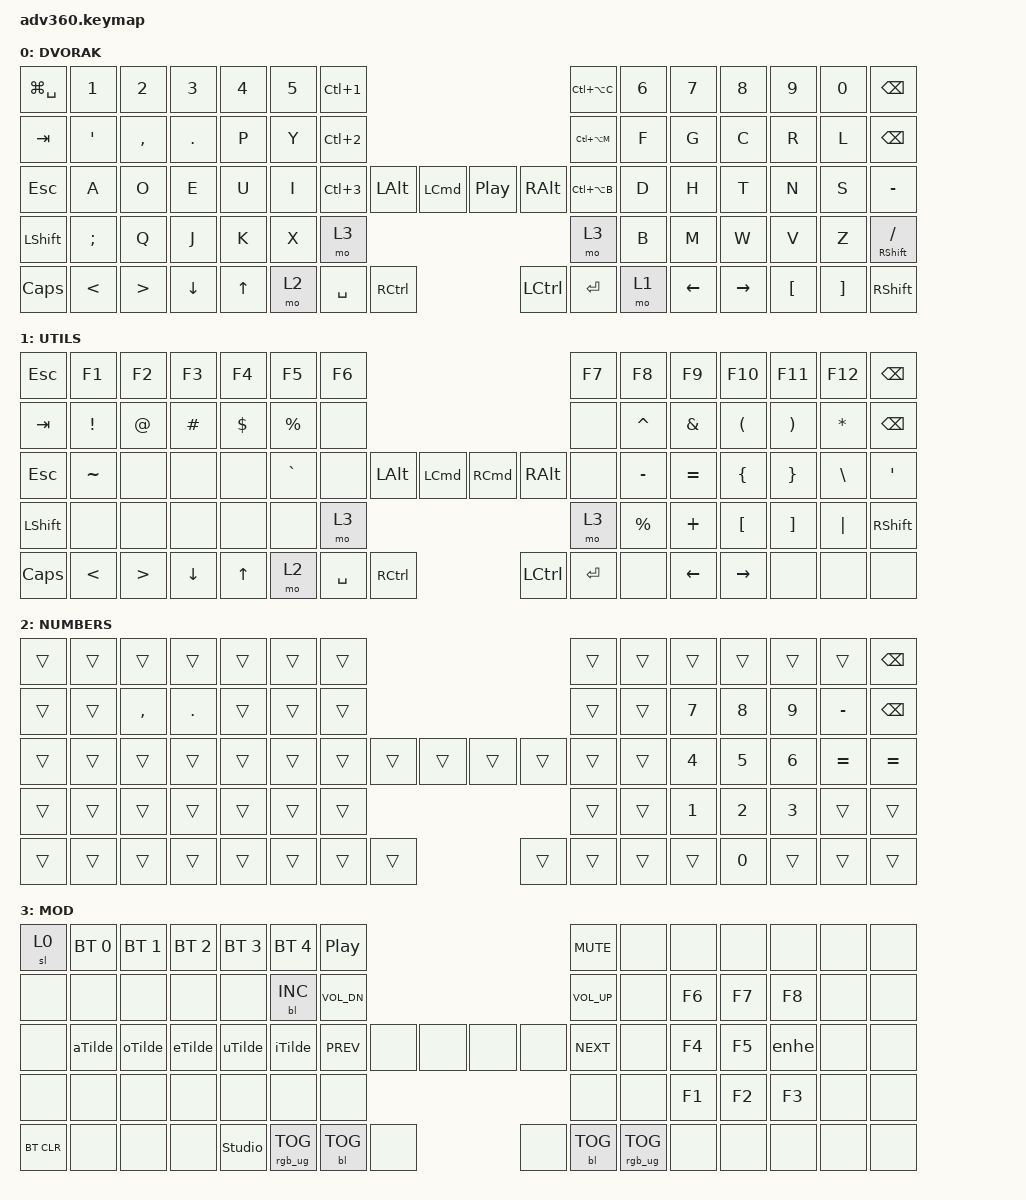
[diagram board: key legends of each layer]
#include <dt-bindings/zmk/stp.h>
#include <behaviors.dtsi>
#include <dt-bindings/zmk/backlight.h>
#include <dt-bindings/zmk/bt.h>
#include <dt-bindings/zmk/keys.h>
#include <dt-bindings/zmk/rgb.h>

/ {
    macros {
        aTilde: aTilde {
            compatible = "zmk,behavior-macro";
            #binding-cells = <0>;
            bindings = <&kp LA(E) &kp A>;
            label = "ATILDE";
        };

        oTilde: oTilde {
            compatible = "zmk,behavior-macro";
            #binding-cells = <0>;
            bindings = <&kp LA(E) &kp O>;
            label = "OTILDE";
        };

        eTilde: eTilde {
            compatible = "zmk,behavior-macro";
            #binding-cells = <0>;
            bindings = <&kp LA(E) &kp E>;
            label = "ETILDE";
        };

        uTilde: uTilde {
            compatible = "zmk,behavior-macro";
            #binding-cells = <0>;
            bindings = <&kp LA(E) &kp U>;
            label = "UTILDE";
        };

        iTilde: iTilde {
            compatible = "zmk,behavior-macro";
            #binding-cells = <0>;
            bindings = <&kp LA(E) &kp I>;
            label = "ITILDE";
        };

        enhe: enhe {
            compatible = "zmk,behavior-macro";
            #binding-cells = <0>;
            bindings = <&kp LA(N) &kp N>;
            label = "ENHE";
        };
    };

    keymap {
        compatible = "zmk,keymap";

        DVORAK {
            bindings = <
&kp LG(SPACE)  &kp N1         &kp N2            &kp N3          &kp N4        &kp N5  &kp LC(NUMBER_1)                                                  &kp LC(LA(C))  &kp N6  &kp N7          &kp N8     &kp N9    &kp N0    &kp BACKSPACE
&kp TAB        &kp SQT        &kp COMMA         &kp PERIOD      &kp P         &kp Y   &kp LC(NUMBER_2)                                                  &kp LC(LA(M))  &kp F   &kp G           &kp C      &kp R     &kp L     &kp BACKSPACE
&kp ESC        &kp A          &kp O             &kp E           &kp U         &kp I   &kp LC(NUMBER_3)  &kp LALT   &kp LCMD       &kp C_PP   &kp RALT   &kp LC(LA(B))  &kp D   &kp H           &kp T      &kp N     &kp S     &kp MINUS
&kp LSHFT      &kp SEMICOLON  &kp Q             &kp J           &kp K         &kp X                                &mo 3          &mo 3                                   &kp B   &kp M           &kp W      &kp V     &kp Z     &mt RSHFT SLASH
&kp CAPS       &kp LESS_THAN  &kp GREATER_THAN  &kp DOWN_ARROW  &kp UP_ARROW          &mo 2             &kp SPACE  &kp RCTRL      &kp LCTRL  &kp ENTER  &mo 1                     &kp LEFT_ARROW  &kp RIGHT  &kp LBKT  &kp RBKT  &kp RIGHT_SHIFT
            >;
        };

        UTILS {
            bindings = <
&kp ESC    &kp F1         &kp F2            &kp F3    &kp F4        &kp F5       &kp F6                                                  &kp F7  &kp F8       &kp F9          &kp F10               &kp F11                &kp F12        &kp BACKSPACE
&kp TAB    &kp EXCL       &kp AT            &kp HASH  &kp DOLLAR    &kp PERCENT  &none                                                   &none   &kp CARET    &kp AMPS        &kp LEFT_PARENTHESIS  &kp RIGHT_PARENTHESIS  &kp ASTRK      &kp BACKSPACE
&kp ESC    &kp TILDE      &none             &none     &none         &kp GRAVE    &none   &kp LALT   &kp LCMD       &kp RCMD   &kp RALT   &none   &kp MINUS    &kp EQUAL       &kp LEFT_BRACE        &kp RIGHT_BRACE        &kp BACKSLASH  &kp SQT
&kp LSHFT  &none          &none             &none     &none         &none                           &mo 3          &mo 3                         &kp PERCENT  &kp PLUS        &kp LEFT_BRACKET      &kp RIGHT_BRACKET      &kp PIPE       &kp RSHFT
&kp CAPS   &kp LESS_THAN  &kp GREATER_THAN  &kp DOWN  &kp UP_ARROW               &mo 2   &kp SPACE  &kp RCTRL      &kp LCTRL  &kp ENTER  &none                &kp LEFT_ARROW  &kp RIGHT             &none                  &none          &none
            >;
        };

        NUMBERS {
            bindings = <
&trans  &trans  &trans     &trans   &trans  &trans  &trans                                      &trans  &trans  &trans  &trans  &trans  &trans     &kp BSPC
&trans  &trans  &kp COMMA  &kp DOT  &trans  &trans  &trans                                      &trans  &trans  &kp N7  &kp N8  &kp N9  &kp MINUS  &kp BSPC
&trans  &trans  &trans     &trans   &trans  &trans  &trans  &trans  &trans      &trans  &trans  &trans  &trans  &kp N4  &kp N5  &kp N6  &kp EQUAL  &kp EQUAL
&trans  &trans  &trans     &trans   &trans  &trans                  &trans      &trans                  &trans  &kp N1  &kp N2  &kp N3  &trans     &trans
&trans  &trans  &trans     &trans   &trans          &trans  &trans  &trans      &trans  &trans  &trans          &trans  &kp N0  &trans  &trans     &trans
            >;
        };

        MOD {
            bindings = <
&sl 0       &bt BT_SEL 0  &bt BT_SEL 1  &bt BT_SEL 2  &bt BT_SEL 3    &bt BT_SEL 4  &kp C_PP                                                   &kp K_MUTE       &none  &none   &none   &none   &none  &none
&none       &none         &none         &none         &none           &bl BL_INC    &kp C_VOL_DN                                               &kp C_VOL_UP     &none  &kp F6  &kp F7  &kp F8  &none  &none
&none       &aTilde       &oTilde       &eTilde       &uTilde         &iTilde       &kp C_PREV       &none       &none      &none  &none       &kp C_NEXT       &none  &kp F4  &kp F5  &enhe   &none  &none
&none       &none         &none         &none         &none           &none                                      &none      &none                               &none  &kp F1  &kp F2  &kp F3  &none  &none
&bt BT_CLR  &none         &none         &none         &studio_unlock                &rgb_ug RGB_TOG  &bl BL_TOG  &none      &none  &bl BL_TOG  &rgb_ug RGB_TOG         &none   &none   &none   &none  &none
            >;
        };
    };
};
